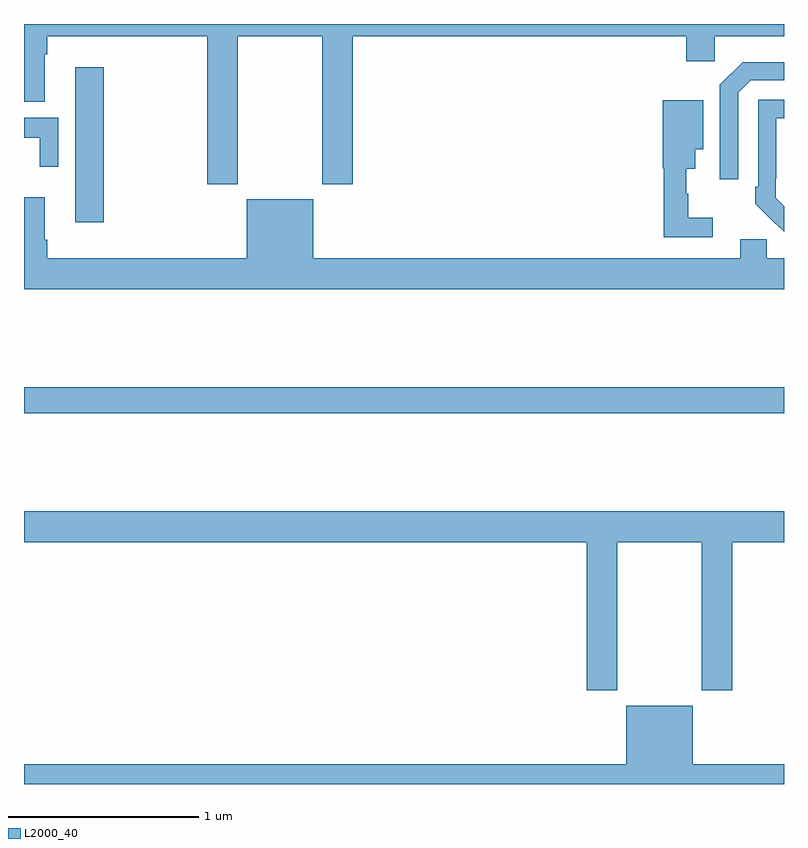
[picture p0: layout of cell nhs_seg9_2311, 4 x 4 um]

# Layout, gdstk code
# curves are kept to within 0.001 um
import gdstk
lib = gdstk.Library(unit=1e-6, precision=1e-09)
def R(c, l, rs):  # rectangles x0, y0, x1, y1
    for r in rs: c.add(gdstk.rectangle(r[:2], r[2:], *l))
def P(c, l, *ps):  # polygons
    for p in ps: c.add(gdstk.Polygon(p, *l))
L2000_40 = (2000, 40)

nhs_seg9_2311 = lib.new_cell('nhs_seg9_2311')
R(nhs_seg9_2311, L2000_40, [(243,1178.452,247,1178.588), (243.269,1179.456,243.419,1180.273)])
P(nhs_seg9_2311, L2000_40, [(244.125,1180.436),(244.57,1180.436),(244.57,1179.657),(244.73,1179.657),(244.73,1180.436),(246.485,1180.436),(246.485,1180.305),(246.636,1180.305),(246.636,1180.436),(247,1180.436),(247,1180.5),(243,1180.5),(243,1180.091),(243.109,1180.091),(243.109,1180.34),(243.122,1180.34),(243.122,1180.436),(243.965,1180.436),(243.965,1179.657),(244.125,1179.657)],
  [(246.759,1180.137),(246.825,1180.203),(247,1180.203),(247,1180.3),(246.784,1180.3),(246.663,1180.179),(246.663,1179.684),(246.759,1179.684)],
  [(247,1179.542),(246.957,1179.585),(246.957,1179.685),(246.96,1179.685),(246.96,1180.005),(247,1180.005),(247,1180.101),(246.864,1180.101),(246.864,1179.643),(246.849,1179.643),(246.849,1179.555),(247,1179.406)],
  [(246.625,1179.479),(246.496,1179.479),(246.496,1179.606),(246.485,1179.606),(246.485,1179.737),(246.532,1179.737),(246.532,1179.842),(246.574,1179.842),(246.574,1180.099),(246.362,1180.099),(246.362,1179.741),(246.367,1179.741),(246.367,1179.378),(246.625,1179.378)],
  [(243.18,1180.006),(243,1180.006),(243,1179.902),(243.084,1179.902),(243.084,1179.75),(243.18,1179.75)],
  [(247,1179.268),(246.909,1179.268),(246.909,1179.366),(246.77,1179.366),(246.77,1179.268),(244.522,1179.268),(244.522,1179.577),(244.172,1179.577),(244.172,1179.268),(243.122,1179.268),(243.122,1179.364),(243.109,1179.364),(243.109,1179.589),(243,1179.589),(243,1179.104),(247,1179.104)],
  [(246.123,1177.772),(246.568,1177.772),(246.568,1176.993),(246.728,1176.993),(246.728,1177.772),(247,1177.772),(247,1177.936),(243,1177.936),(243,1177.772),(245.963,1177.772),(245.963,1176.993),(246.123,1176.993)],
  [(247,1176.604),(246.52,1176.604),(246.52,1176.913),(246.17,1176.913),(246.17,1176.604),(243,1176.604),(243,1176.5),(247,1176.5)])

lib.write_gds('nhs_seg9_2311.gds')
